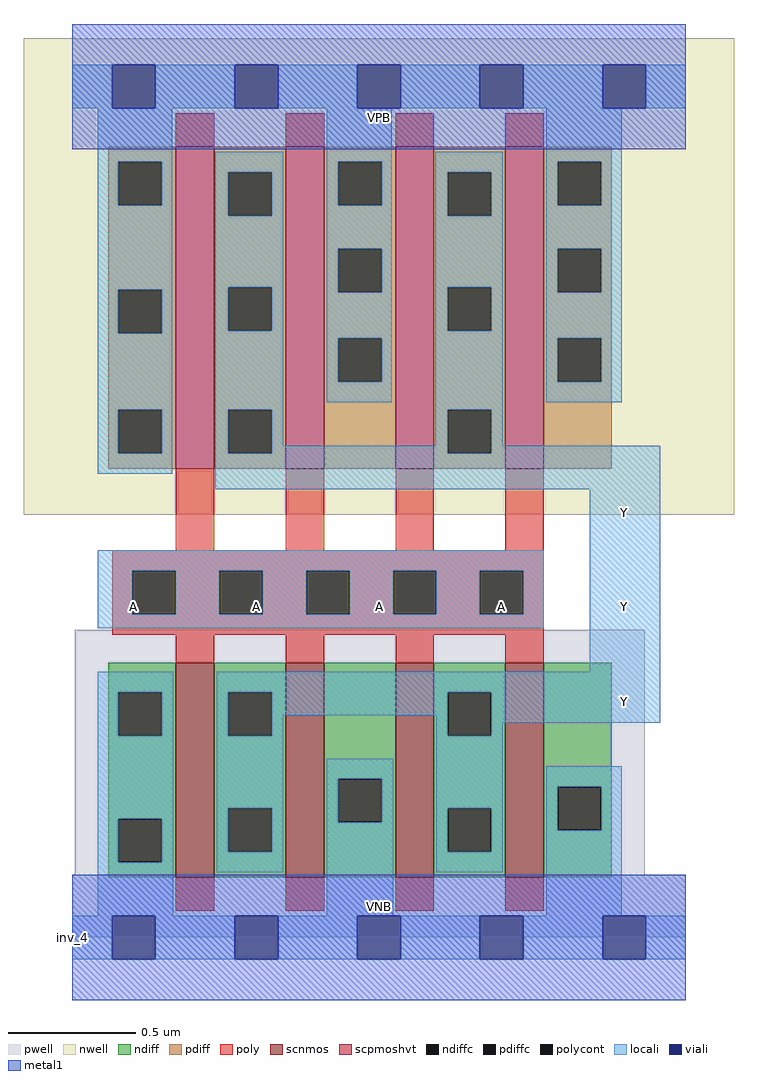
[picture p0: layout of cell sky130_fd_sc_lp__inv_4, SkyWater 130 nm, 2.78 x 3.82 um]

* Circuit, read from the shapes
.subckt sky130_fd_sc_lp__inv_4 A VGND VNB VPB VPWR Y
XM1 Y A VGND VNB sky130_fd_pr__nfet_01v8 w=0.84 l=0.15 m=4
XM2 Y A VPWR VPB sky130_fd_pr__pfet_01v8_hvt w=1.26 l=0.15 m=4
.ends

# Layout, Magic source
magic
tech sky130A
magscale 1 2
<< nwell >>
rect -38 331 518 704
<< pwell >>
rect 2 49 448 241
rect 0 0 480 49
<< scnmos >>
rect 81 47 111 215
rect 167 47 197 215
rect 253 47 283 215
rect 339 47 369 215
<< scpmoshvt >>
rect 81 367 111 619
rect 167 367 197 619
rect 253 367 283 619
rect 339 367 369 619
<< ndiff >>
rect 28 192 81 215
rect 28 158 36 192
rect 70 158 81 192
rect 28 93 81 158
rect 28 59 36 93
rect 70 59 81 93
rect 28 47 81 59
rect 111 192 167 215
rect 111 158 122 192
rect 156 158 167 192
rect 111 101 167 158
rect 111 67 122 101
rect 156 67 167 101
rect 111 47 167 67
rect 197 124 253 215
rect 197 90 208 124
rect 242 90 253 124
rect 197 47 253 90
rect 283 192 339 215
rect 283 158 294 192
rect 328 158 339 192
rect 283 101 339 158
rect 283 67 294 101
rect 328 67 339 101
rect 283 47 339 67
rect 369 118 422 215
rect 369 84 380 118
rect 414 84 422 118
rect 369 47 422 84
<< pdiff >>
rect 28 607 81 619
rect 28 573 36 607
rect 70 573 81 607
rect 28 507 81 573
rect 28 473 36 507
rect 70 473 81 507
rect 28 413 81 473
rect 28 379 36 413
rect 70 379 81 413
rect 28 367 81 379
rect 111 599 167 619
rect 111 565 122 599
rect 156 565 167 599
rect 111 509 167 565
rect 111 475 122 509
rect 156 475 167 509
rect 111 413 167 475
rect 111 379 122 413
rect 156 379 167 413
rect 111 367 167 379
rect 197 607 253 619
rect 197 573 208 607
rect 242 573 253 607
rect 197 539 253 573
rect 197 505 208 539
rect 242 505 253 539
rect 197 469 253 505
rect 197 435 208 469
rect 242 435 253 469
rect 197 367 253 435
rect 283 599 339 619
rect 283 565 294 599
rect 328 565 339 599
rect 283 509 339 565
rect 283 475 294 509
rect 328 475 339 509
rect 283 413 339 475
rect 283 379 294 413
rect 328 379 339 413
rect 283 367 339 379
rect 369 607 422 619
rect 369 573 380 607
rect 414 573 422 607
rect 369 539 422 573
rect 369 505 380 539
rect 414 505 422 539
rect 369 469 422 505
rect 369 435 380 469
rect 414 435 422 469
rect 369 367 422 435
<< ndiffc >>
rect 36 158 70 192
rect 36 59 70 93
rect 122 158 156 192
rect 122 67 156 101
rect 208 90 242 124
rect 294 158 328 192
rect 294 67 328 101
rect 380 84 414 118
<< pdiffc >>
rect 36 573 70 607
rect 36 473 70 507
rect 36 379 70 413
rect 122 565 156 599
rect 122 475 156 509
rect 122 379 156 413
rect 208 573 242 607
rect 208 505 242 539
rect 208 435 242 469
rect 294 565 328 599
rect 294 475 328 509
rect 294 379 328 413
rect 380 573 414 607
rect 380 505 414 539
rect 380 435 414 469
<< poly >>
rect 81 619 111 645
rect 167 619 197 645
rect 253 619 283 645
rect 339 619 369 645
rect 81 303 111 367
rect 167 303 197 367
rect 253 303 283 367
rect 339 303 369 367
rect 31 287 369 303
rect 31 253 47 287
rect 81 253 115 287
rect 149 253 183 287
rect 217 253 251 287
rect 285 253 319 287
rect 353 253 369 287
rect 31 237 369 253
rect 81 215 111 237
rect 167 215 197 237
rect 253 215 283 237
rect 339 215 369 237
rect 81 21 111 47
rect 167 21 197 47
rect 253 21 283 47
rect 339 21 369 47
<< polycont >>
rect 47 253 81 287
rect 115 253 149 287
rect 183 253 217 287
rect 251 253 285 287
rect 319 253 353 287
<< locali >>
rect 0 649 31 683
rect 65 649 127 683
rect 161 649 223 683
rect 257 649 319 683
rect 353 649 415 683
rect 449 649 480 683
rect 20 607 78 649
rect 20 573 36 607
rect 70 573 78 607
rect 20 507 78 573
rect 20 473 36 507
rect 70 473 78 507
rect 20 413 78 473
rect 20 379 36 413
rect 70 379 78 413
rect 20 363 78 379
rect 112 599 165 615
rect 112 565 122 599
rect 156 565 165 599
rect 112 509 165 565
rect 112 475 122 509
rect 156 475 165 509
rect 112 413 165 475
rect 199 607 250 649
rect 199 573 208 607
rect 242 573 250 607
rect 199 539 250 573
rect 199 505 208 539
rect 242 505 250 539
rect 199 469 250 505
rect 199 435 208 469
rect 242 435 250 469
rect 199 419 250 435
rect 284 599 337 615
rect 284 565 294 599
rect 328 565 337 599
rect 284 509 337 565
rect 284 475 294 509
rect 328 475 337 509
rect 112 379 122 413
rect 156 385 165 413
rect 284 413 337 475
rect 371 607 430 649
rect 371 573 380 607
rect 414 573 430 607
rect 371 539 430 573
rect 371 505 380 539
rect 414 505 430 539
rect 371 469 430 505
rect 371 435 380 469
rect 414 435 430 469
rect 371 419 430 435
rect 284 385 294 413
rect 156 379 294 385
rect 328 385 337 413
rect 328 379 460 385
rect 112 351 460 379
rect 20 287 369 303
rect 20 253 47 287
rect 81 253 115 287
rect 149 253 183 287
rect 217 253 251 287
rect 285 253 319 287
rect 353 253 369 287
rect 20 242 369 253
rect 405 208 460 351
rect 20 192 79 208
rect 20 158 36 192
rect 70 158 79 192
rect 20 93 79 158
rect 20 59 36 93
rect 70 59 79 93
rect 20 17 79 59
rect 113 192 460 208
rect 113 158 122 192
rect 156 174 294 192
rect 156 158 165 174
rect 113 101 165 158
rect 285 158 294 174
rect 328 168 460 192
rect 328 158 337 168
rect 113 67 122 101
rect 156 67 165 101
rect 113 51 165 67
rect 199 124 251 140
rect 199 90 208 124
rect 242 90 251 124
rect 199 17 251 90
rect 285 101 337 158
rect 285 67 294 101
rect 328 67 337 101
rect 285 51 337 67
rect 371 118 430 134
rect 371 84 380 118
rect 414 84 430 118
rect 371 17 430 84
rect 0 -17 31 17
rect 65 -17 127 17
rect 161 -17 223 17
rect 257 -17 319 17
rect 353 -17 415 17
rect 449 -17 480 17
<< viali >>
rect 31 649 65 683
rect 127 649 161 683
rect 223 649 257 683
rect 319 649 353 683
rect 415 649 449 683
rect 31 -17 65 17
rect 127 -17 161 17
rect 223 -17 257 17
rect 319 -17 353 17
rect 415 -17 449 17
<< metal1 >>
rect 0 683 480 715
rect 0 649 31 683
rect 65 649 127 683
rect 161 649 223 683
rect 257 649 319 683
rect 353 649 415 683
rect 449 649 480 683
rect 0 617 480 649
rect 0 17 480 49
rect 0 -17 31 17
rect 65 -17 127 17
rect 161 -17 223 17
rect 257 -17 319 17
rect 353 -17 415 17
rect 449 -17 480 17
rect 0 -49 480 -17
<< labels >>
flabel pwell s 0 0 480 49 0 FreeSans 200 0 0 0 VNB
port 3 nsew ground bidirectional
flabel nwell s 0 617 480 666 0 FreeSans 200 0 0 0 VPB
port 4 nsew power bidirectional
rlabel comment s 0 0 0 0 4 inv_4
flabel metal1 s 0 617 480 666 0 FreeSans 340 0 0 0 VPWR
port 5 nsew power bidirectional
flabel metal1 s 0 0 480 49 0 FreeSans 340 0 0 0 VGND
port 2 nsew ground bidirectional
flabel locali s 31 242 65 276 0 FreeSans 340 0 0 0 A
port 1 nsew signal input
flabel locali s 127 242 161 276 0 FreeSans 340 0 0 0 A
port 1 nsew signal input
flabel locali s 223 242 257 276 0 FreeSans 340 0 0 0 A
port 1 nsew signal input
flabel locali s 319 242 353 276 0 FreeSans 340 0 0 0 A
port 1 nsew signal input
flabel locali s 415 168 449 202 0 FreeSans 340 0 0 0 Y
port 6 nsew signal output
flabel locali s 415 242 449 276 0 FreeSans 340 0 0 0 Y
port 6 nsew signal output
flabel locali s 415 316 449 350 0 FreeSans 340 0 0 0 Y
port 6 nsew signal output
<< properties >>
string LEFsite unit
string LEFclass CORE
string FIXED_BBOX 0 0 480 666
string GDS_FILE $PDKPATH/libs.ref/sky130_fd_sc_lp/gds/sky130_fd_sc_lp.gds
string LEFsymmetry X Y R90
string GDS_END 5442026
string GDS_START 5436540
<< end >>
